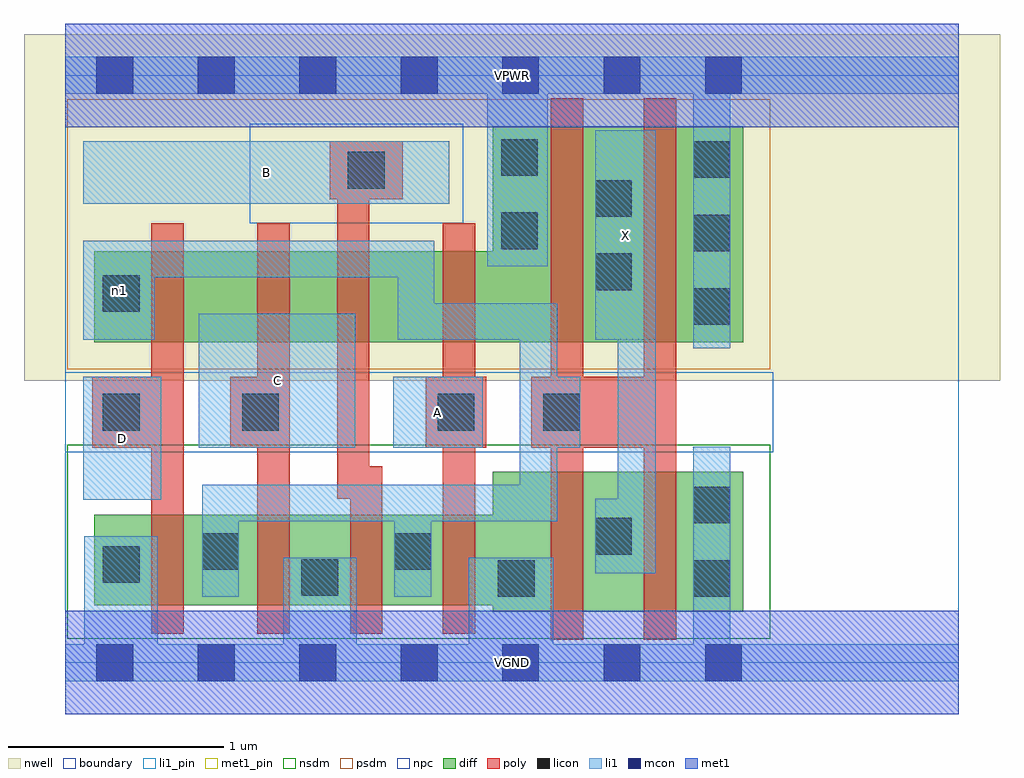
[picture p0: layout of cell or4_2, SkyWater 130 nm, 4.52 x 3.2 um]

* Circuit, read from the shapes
.subckt or4_2 A B C D VGND VPWR X n1
XM1 n1 D VGND VSUBS sky130_fd_pr__nfet_01v8 w=0.42 l=0.15
XM2 VGND C n1 VSUBS sky130_fd_pr__nfet_01v8 w=0.42 l=0.15
XM3 n1 B VGND VSUBS sky130_fd_pr__nfet_01v8 w=0.42 l=0.15
XM4 VGND A n1 VSUBS sky130_fd_pr__nfet_01v8 w=0.42 l=0.15
XM5 X n1 VGND VSUBS sky130_fd_pr__nfet_01v8 w=0.65 l=0.15 m=2
XM6 n2 D n1 n3 sky130_fd_pr__pfet_01v8 w=0.42 l=0.15
XM7 n4 C n2 n3 sky130_fd_pr__pfet_01v8 w=0.42 l=0.15
XM8 n5 B n4 n3 sky130_fd_pr__pfet_01v8 w=0.42 l=0.15
XM9 VPWR A n5 n3 sky130_fd_pr__pfet_01v8 w=0.42 l=0.15
XM10 X n1 VPWR n3 sky130_fd_pr__pfet_01v8 w=1 l=0.15 m=2
.ends

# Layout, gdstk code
import gdstk
lib = gdstk.Library(unit=1e-6, precision=1e-09)
def R(c, l, rs):  # rectangles x0, y0, x1, y1
    for r in rs: c.add(gdstk.rectangle(r[:2], r[2:], *l))
def A(c, l, x, y, w, h, nx, ny, dx, dy):  # array of equal rectangles
    R(c, l, [(x+i*dx, y+j*dy, x+i*dx+w, y+j*dy+h) for i in range(nx) for j in range(ny)])
nwell = (64, 20)
diff = (65, 20)
poly = (66, 20)
licon = (66, 44)
li1_pin = (67, 16)
li1 = (67, 20)
mcon = (67, 44)
met1_pin = (68, 16)
met1 = (68, 20)
nsdm = (93, 44)
psdm = (94, 20)
npc = (95, 20)
boundary = (235, 4)

or4_2 = lib.new_cell('or4_2')
R(or4_2, nwell, [(-0.19,1.305,4.33,2.91), (0,1.305,4.14,2.91)])
R(or4_2, diff, [(1.98,0.235,3.14,0.885), (0.135,0.265,3.14,0.685), (0.135,1.485,3.14,1.905), (1.98,1.485,3.14,2.485)])
R(or4_2, poly, [(2.25,0.105,2.4,2.615), (2.68,0.105,2.83,2.615), (0.4,0.135,0.55,2.035), (0.89,0.135,1.04,2.035), (1.32,0.135,1.47,0.91), (1.75,0.135,1.9,2.035), (1.26,0.76,1.41,2.415), (0.125,0.995,0.55,1.325), (0.765,0.995,1.04,1.325), (1.67,0.995,1.95,1.325), (2.16,0.995,2.83,1.325), (1.225,2.145,1.565,2.415)])
A(or4_2, licon, 2.91, 1.565, 0.17, 0.17, 1, 3, 0, 0.34)
R(or4_2, licon, [(2.005,0.305,2.175,0.475), (2.91,0.305,3.08,0.475), (1.095,0.31,1.265,0.48), (0.175,0.37,0.345,0.54), (0.635,0.43,0.805,0.6), (1.525,0.43,1.695,0.6), (2.455,0.5,2.625,0.67), (2.91,0.645,3.08,0.815), (0.175,1.075,0.345,1.245), (0.82,1.075,0.99,1.245), (1.725,1.075,1.895,1.245), (2.215,1.075,2.385,1.245), (0.175,1.625,0.345,1.795), (2.455,1.725,2.625,1.895), (2.02,1.915,2.19,2.085), (2.455,2.065,2.625,2.235), (1.31,2.195,1.48,2.365), (2.02,2.255,2.19,2.425)])
R(or4_2, li1_pin, [(0.085,0.755,0.445,1.325), (0.62,0.995,1.345,1.615), (1.52,0.995,1.935,1.325), (2.455,1.495,2.735,2.465), (0.085,2.125,1.78,2.415)])
R(or4_2, li1, [(0,-0.085,4.14,0.085), (0.09,-0.085,0.43,0.585), (1.01,-0.085,1.35,0.485), (1.87,-0.085,2.26,0.485), (2.91,-0.085,3.08,1), (0.635,0.305,0.805,0.825), (1.525,0.305,1.695,0.825), (2.455,0.415,2.735,0.76), (2.56,0.415,2.735,2.465), (0.635,0.655,2.28,0.825), (2.105,0.655,2.28,1.665), (0.085,0.755,0.445,1.325), (0.62,0.995,1.345,1.615), (1.52,0.995,1.935,1.325), (2.105,0.995,2.385,1.325), (2.91,1.455,3.08,2.805), (0.085,1.495,0.415,1.955), (1.54,1.495,2.28,1.665), (1.54,1.495,1.71,1.955), (2.455,1.495,2.735,2.465), (0.085,1.785,1.71,1.955), (1.955,1.835,2.235,2.805), (0.085,2.125,1.78,2.415), (0,2.635,4.14,2.805)])
A(or4_2, mcon, 0.145, -0.085, 0.17, 0.17, 7, 2, 0.47, 2.72)
R(or4_2, met1_pin, [(0,-0.24,4.14,0.24), (0,2.48,4.14,2.96)])
R(or4_2, met1, [(0,-0.24,4.14,0.24), (0,2.48,4.14,2.96)])
R(or4_2, nsdm, [(0.01,0.11,3.265,1.01)])
R(or4_2, psdm, [(0.01,1.36,3.265,2.61)])
R(or4_2, npc, [(0,0.975,3.28,1.345), (0.855,2.035,1.845,2.495)])
R(or4_2, boundary, [(0,0,4.14,2.72)])
or4_2.add(gdstk.Label('A', (1.727,1.16), layer=67, texttype=5))
or4_2.add(gdstk.Label('B', (0.932,2.27), layer=67, texttype=5))
or4_2.add(gdstk.Label('C', (0.982,1.305), layer=67, texttype=5))
or4_2.add(gdstk.Label('D', (0.265,1.04), layer=67, texttype=5))
or4_2.add(gdstk.Label('X', (2.595,1.98), layer=67, texttype=5))
or4_2.add(gdstk.Label('n1', (0.25,1.725), layer=67, texttype=5))
or4_2.add(gdstk.Label('VPWR', (2.07,2.72), layer=68, texttype=5))
or4_2.add(gdstk.Label('VGND', (2.07,0), layer=68, texttype=5))
or4_2.add(gdstk.Label('A', (1.727,1.16), layer=67, texttype=16))
or4_2.add(gdstk.Label('B', (0.932,2.27), layer=67, texttype=16))
or4_2.add(gdstk.Label('C', (0.982,1.305), layer=67, texttype=16))
or4_2.add(gdstk.Label('D', (0.265,1.04), layer=67, texttype=16))
or4_2.add(gdstk.Label('X', (2.595,1.98), layer=67, texttype=16))
or4_2.add(gdstk.Label('VPWR', (2.07,2.72), layer=68, texttype=16))
or4_2.add(gdstk.Label('VGND', (2.07,0), layer=68, texttype=16))

lib.write_gds('or4_2.gds')
